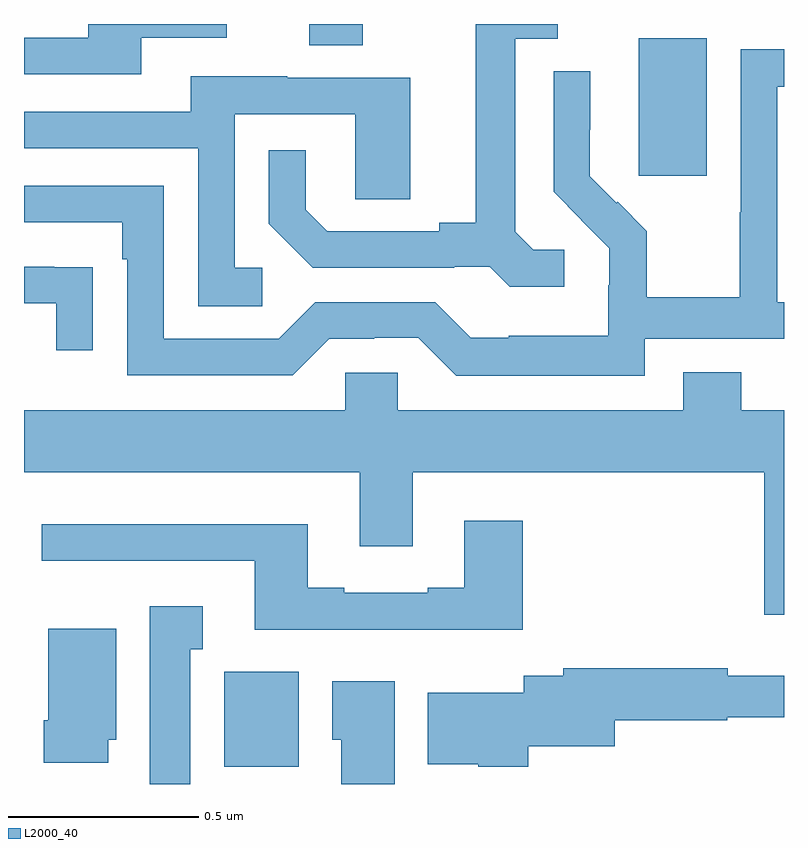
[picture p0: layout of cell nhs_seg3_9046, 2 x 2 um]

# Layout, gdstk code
import gdstk
lib = gdstk.Library(unit=1e-6, precision=1e-09)
def R(c, l, rs):  # rectangles x0, y0, x1, y1
    for r in rs: c.add(gdstk.rectangle(r[:2], r[2:], *l))
def P(c, l, *ps):  # polygons
    for p in ps: c.add(gdstk.Polygon(p, *l))
L2000_40 = (2000, 40)

nhs_seg3_9046 = lib.new_cell('nhs_seg3_9046')
R(nhs_seg3_9046, L2000_40, [(223.527,729.446,223.723,729.696), (224.618,731.001,224.797,731.362), (223.751,731.344,223.891,731.4)])
P(nhs_seg3_9046, L2000_40, [(224.422,730.806),(224.34,730.806),(224.293,730.853),(224.293,731.361),(224.404,731.361),(224.404,731.4),(224.189,731.4),(224.189,730.877),(224.093,730.877),(224.093,730.854),(223.798,730.854),(223.741,730.911),(223.741,731.068),(223.644,731.068),(223.644,730.874),(223.76,730.758),(224.132,730.758),(224.132,730.761),(224.226,730.761),(224.278,730.709),(224.422,730.709)],
  [(223.309,731.364),(223.534,731.364),(223.534,731.4),(223.169,731.4),(223.169,731.364),(223,731.364),(223,731.268),(223.309,731.268)],
  [(224.634,730.572),(225,730.572),(225,730.668),(224.982,730.668),(224.982,731.235),(225,731.235),(225,731.334),(224.886,731.334),(224.886,730.904),(224.884,730.904),(224.884,730.681),(224.639,730.681),(224.639,730.855),(224.562,730.932),(224.559,730.929),(224.489,731),(224.489,731.122),(224.49,731.122),(224.49,731.276),(224.394,731.276),(224.394,730.958),(224.467,730.885),(224.466,730.884),(224.54,730.81),(224.54,730.713),(224.538,730.713),(224.538,730.579),(224.275,730.579),(224.275,730.575),(224.175,730.575),(224.082,730.668),(223.767,730.668),(223.671,730.572),(223.368,730.572),(223.368,730.974),(223,730.974),(223,730.878),(223.259,730.878),(223.259,730.781),(223.272,730.781),(223.272,730.476),(223.707,730.476),(223.803,730.572),(223.922,730.572),(223.922,730.575),(224.037,730.575),(224.137,730.475),(224.634,730.475)],
  [(223.627,730.758),(223.554,730.758),(223.554,731.163),(223.872,731.163),(223.872,730.939),(224.017,730.939),(224.017,731.259),(223.693,731.259),(223.693,731.263),(223.439,731.263),(223.439,731.169),(223,731.169),(223,731.073),(223.458,731.073),(223.458,730.657),(223.627,730.657)],
  [(223.181,730.76),(223.079,730.76),(223.079,730.761),(223,730.761),(223,730.665),(223.085,730.665),(223.085,730.542),(223.181,730.542)],
  [(225,730.384),(224.888,730.384),(224.888,730.483),(224.735,730.483),(224.735,730.384),(223.983,730.384),(223.983,730.482),(223.845,730.482),(223.845,730.384),(223,730.384),(223,730.22),(223.883,730.22),(223.883,730.026),(224.023,730.026),(224.023,730.22),(224.948,730.22),(224.948,729.846),(225,729.846)],
  [(224.312,730.093),(224.159,730.093),(224.159,729.916),(224.063,729.916),(224.063,729.903),(223.843,729.903),(223.843,729.916),(223.747,729.916),(223.747,730.084),(223.047,730.084),(223.047,729.987),(223.607,729.987),(223.607,729.806),(224.312,729.806)],
  [(223.438,729.755),(223.471,729.755),(223.471,729.868),(223.331,729.868),(223.331,729.4),(223.438,729.4)],
  [(223.222,729.516),(223.243,729.516),(223.243,729.808),(223.064,729.808),(223.064,729.568),(223.052,729.568),(223.052,729.456),(223.222,729.456)],
  [(224.327,729.5),(224.554,729.5),(224.554,729.568),(224.85,729.568),(224.85,729.576),(225,729.576),(225,729.685),(224.852,729.685),(224.852,729.704),(224.419,729.704),(224.419,729.685),(224.315,729.685),(224.315,729.64),(224.063,729.64),(224.063,729.452),(224.196,729.452),(224.196,729.446),(224.327,729.446)],
  [(223.975,729.67),(223.811,729.67),(223.811,729.516),(223.835,729.516),(223.835,729.4),(223.975,729.4)])

lib.write_gds('nhs_seg3_9046.gds')
